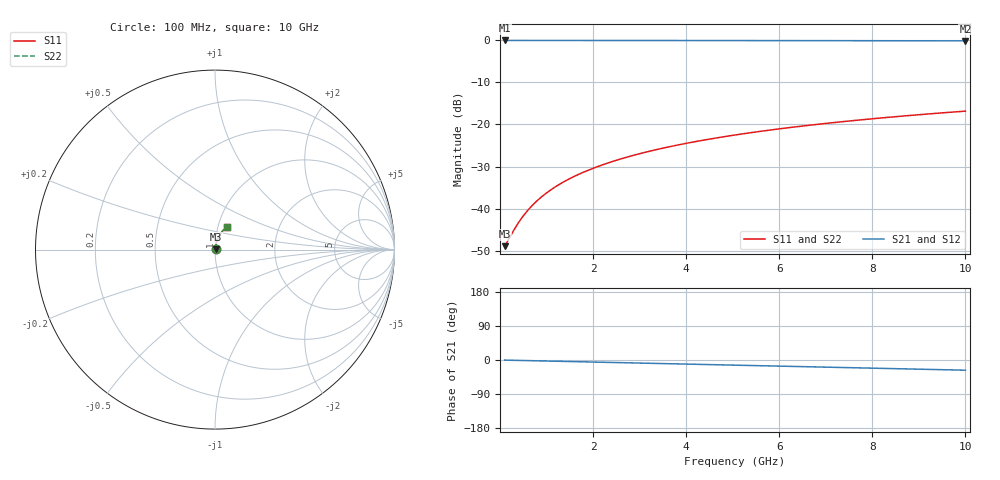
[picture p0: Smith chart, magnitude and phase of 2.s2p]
# Hz S RI R 50.00
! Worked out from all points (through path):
!   100 points, 100 MHz to 10 GHz, reference 50 ohm
!   highest |S21| = -0.03 dB at 100 MHz (marker M1); lowest = -0.1 dB at 10 GHz (marker M2)
!   group delay of S21, straight-line fit = 7.48 ps
!   lowest |S11| = -48.9 dB at 100 MHz (marker M3), VSWR 1.01, Z = 50.3 + j0.149 ohm
!   |S11| at or under -10 dB: start of sweep to end of sweep
!   |S22| runs from -48.9 to -16.8 dB; largest |S21 - S12| = 0
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1e8  0.00325 0.00148  0.9967 -0.00469  0.9967 -0.00469  0.00325 0.00148
3e8  0.00334 0.00445  0.9966 -0.0141  0.9966 -0.0141  0.00334 0.00445
4e8  0.0034 0.00593  0.9965 -0.0187  0.9965 -0.0187  0.0034 0.00593
5e8  0.00348 0.00741  0.9964 -0.0234  0.9964 -0.0234  0.00348 0.00741
6e8  0.00356 0.00889  0.9962 -0.0281  0.9962 -0.0281  0.00356 0.00889
7e8  0.00366 0.0104  0.9961 -0.0328  0.9961 -0.0328  0.00366 0.0104
8e8  0.00377 0.0118  0.9959 -0.0375  0.9959 -0.0375  0.00377 0.0118
1e9  0.00403 0.0148  0.9954 -0.0468  0.9954 -0.0468  0.00403 0.0148
1.2e9  0.00435 0.0177  0.9949 -0.0562  0.9949 -0.0562  0.00435 0.0177
1.5e9  0.00493 0.0222  0.9939 -0.0702  0.9939 -0.0702  0.00493 0.0222
1.8e9  0.00563 0.0265  0.9926 -0.0842  0.9926 -0.0842  0.00563 0.0265
2.1e9  0.00645 0.0309  0.9912 -0.0982  0.9912 -0.0982  0.00645 0.0309
2.5e9  0.00774 0.0367  0.989 -0.1168  0.989 -0.1168  0.00774 0.0367
2.9e9  0.00924 0.0424  0.9863 -0.1354  0.9863 -0.1354  0.00924 0.0424
3.4e9  0.0114 0.0495  0.9825 -0.1585  0.9825 -0.1585  0.0114 0.0495
4.2e9  0.0156 0.0606  0.9752 -0.1952  0.9752 -0.1952  0.0156 0.0606
5.1e9  0.0213 0.0726  0.9651 -0.236  0.9651 -0.236  0.0213 0.0726
5.9e9  0.0271 0.0828  0.9546 -0.2719  0.9546 -0.2719  0.0271 0.0828
6.7e9  0.0337 0.0926  0.9427 -0.3072  0.9427 -0.3072  0.0337 0.0926
7.5e9  0.0411 0.1019  0.9294 -0.3419  0.9294 -0.3419  0.0411 0.1019
8.4e9  0.0501 0.1116  0.9128 -0.3802  0.9128 -0.3802  0.0501 0.1116
1e10  0.0681 0.1268  0.8792 -0.4461  0.8792 -0.4461  0.0681 0.1268
